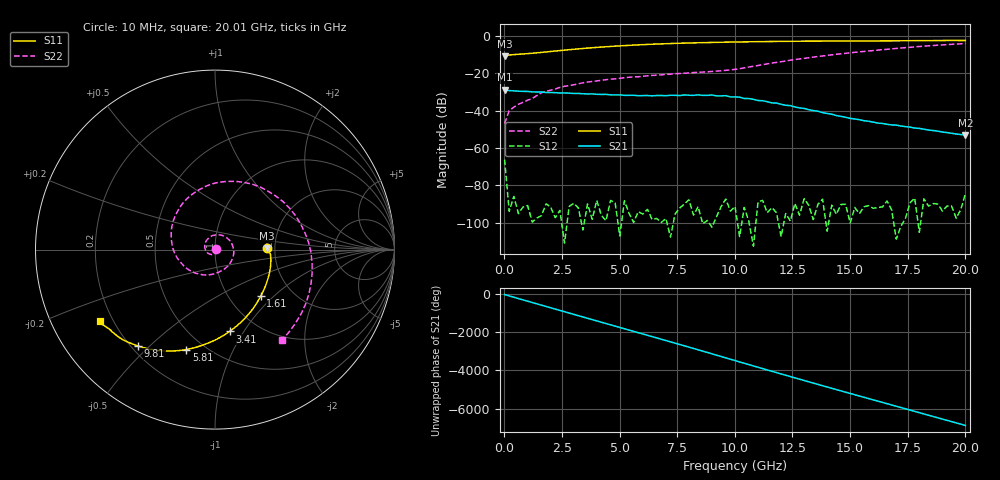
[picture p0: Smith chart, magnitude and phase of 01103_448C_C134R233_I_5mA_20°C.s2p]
!;Filter: kein Filter
!auto
!3/21/2019 9:27:39 AM
!3/21/2019 9:27:53 AM
!SP-Measurements Prober G4
!SP-Measurements Prober G4
!134
!233
!12
!20
!-20
!0.00499992
!1.96
!0.64375220
!0.64375220
# Hz S  RI  R 50
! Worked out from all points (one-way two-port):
!   101 points, 10 MHz to 20.01 GHz, reference 50 ohm
!   highest |S21| = -28.81 dB at 10 MHz (marker M1); lowest = -53.1 dB at 20.01 GHz (marker M2)
!   lowest |S11| = -10.8 dB at 10 MHz (marker M3), VSWR 1.81, Z = 90.7 + j1.39 ohm
!   |S11| at or under -10 dB: start of sweep to 378.9 MHz
!   |S22| runs from -46.9 to -4.1 dB; largest |S21 - S12| = 0.036
!   S11 on the Smith chart (normalised r, x): 10 MHz: 1.81, +0.03; 1.61 GHz: 1.39, -0.83; 3.41 GHz: 0.75, -0.87; 5.81 GHz: 0.40, -0.67; 9.81 GHz: 0.23, -0.46; 20.01 GHz: 0.15, -0.28
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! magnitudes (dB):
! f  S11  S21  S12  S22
! 10 MHz  -10.8  -28.8  -66.2  -46.9
! 210 MHz  -10.2  -29.2  -93.9  -40.0
! 610 MHz  -9.8  -29.5  -95.1  -36.6
! 1.21 GHz  -9.2  -29.9  -99.6  -33.5
! 1.61 GHz  -8.8  -30.0  -96.2  -30.4
! 2.61 GHz  -7.6  -30.5  -110.9  -26.9
! 3.41 GHz  -6.7  -30.9  -103.9  -25.1
! 4.41 GHz  -5.8  -31.3  -99.0  -23.4
! 5.81 GHz  -4.7  -32.0  -94.1  -21.8
! 6.81 GHz  -4.2  -31.8  -99.9  -20.8
! 9.01 GHz  -3.5  -31.6  -102.4  -19.0
! 9.21 GHz  -3.4  -32.1  -96.7  -18.8
! 9.61 GHz  -3.3  -32.0  -87.3  -18.4
! 9.81 GHz  -3.3  -32.6  -93.8  -18.2
! 10.01 GHz  -3.2  -32.6  -91.3  -17.9
! 11.21 GHz  -3.0  -34.6  -88.0  -15.4
! 11.61 GHz  -2.9  -35.8  -91.9  -14.5
! 11.81 GHz  -2.9  -35.9  -94.6  -14.1
! 13.41 GHz  -2.8  -40.0  -98.3  -11.3
! 15.01 GHz  -2.7  -44.1  -100.1  -9.0
! 16.81 GHz  -2.6  -47.6  -93.1  -6.9
! 20.01 GHz  -2.4  -53.1  -84.4  -4.1
